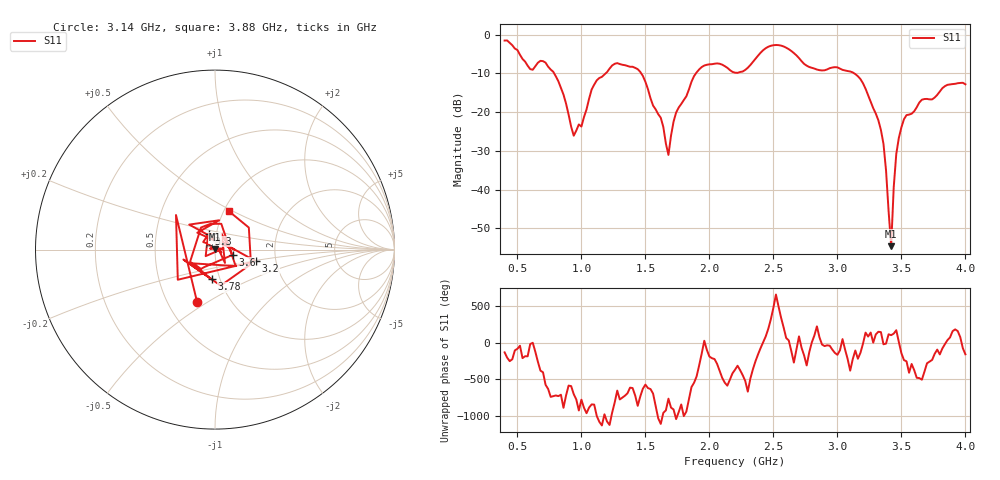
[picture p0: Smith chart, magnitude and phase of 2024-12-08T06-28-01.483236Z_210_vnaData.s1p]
!Created with skrf (http://scikit-rf.org).
# Hz S RI R 50.0
!freq ReS11 ImS11
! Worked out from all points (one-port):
!   181 points, 400 MHz to 4 GHz, reference 50 ohm
!   lowest |S11| = -54.6 dB at 3.42 GHz (marker M1), VSWR 1.00, Z = 50 + j0.182 ohm
!   |S11| at or under -10 dB: 787 MHz to 1.19 GHz (402.6 MHz wide, 40.7 % of centre); 1.467 GHz to 1.895 GHz (427.7 MHz wide, 25.4 % of centre); 3.131 GHz to end of sweep
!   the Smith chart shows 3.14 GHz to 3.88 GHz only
!   S11 on the Smith chart (normalised r, x): 3.14 GHz: 0.70, -0.45; 3.2 GHz: 1.57, -0.21; 3.3 GHz: 0.92, +0.17; 3.6 GHz: 1.22, -0.07; 3.78 GHz: 0.91, -0.31; 3.88 GHz: 1.06, +0.48
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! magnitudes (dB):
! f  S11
! 400 MHz  -1.5
! 600 MHz  -8.9
! 720 MHz  -7.2
! 860 MHz  -15.5
! 940 MHz  -26.1
! 1.12 GHz  -11.8
! 1.3 GHz  -7.6
! 1.48 GHz  -10.6
! 1.62 GHz  -21.5
! 1.68 GHz  -31.1
! 1.76 GHz  -18.8
! 1.94 GHz  -8.4
! 2.2 GHz  -9.8
! 2.48 GHz  -2.9
! 2.66 GHz  -4.8
! 3.1 GHz  -9.5
! 3.14 GHz  -10.2
! 3.2 GHz  -12.6
! 3.3 GHz  -20.4
! 3.36 GHz  -28.2
! 3.42 GHz  -54.6
! 3.44 GHz  -39.5
! 3.46 GHz  -30.8
! 3.56 GHz  -20.6
! 3.6 GHz  -19.8
! 3.78 GHz  -15.6
! 3.88 GHz  -12.9
! 4 GHz  -12.8
